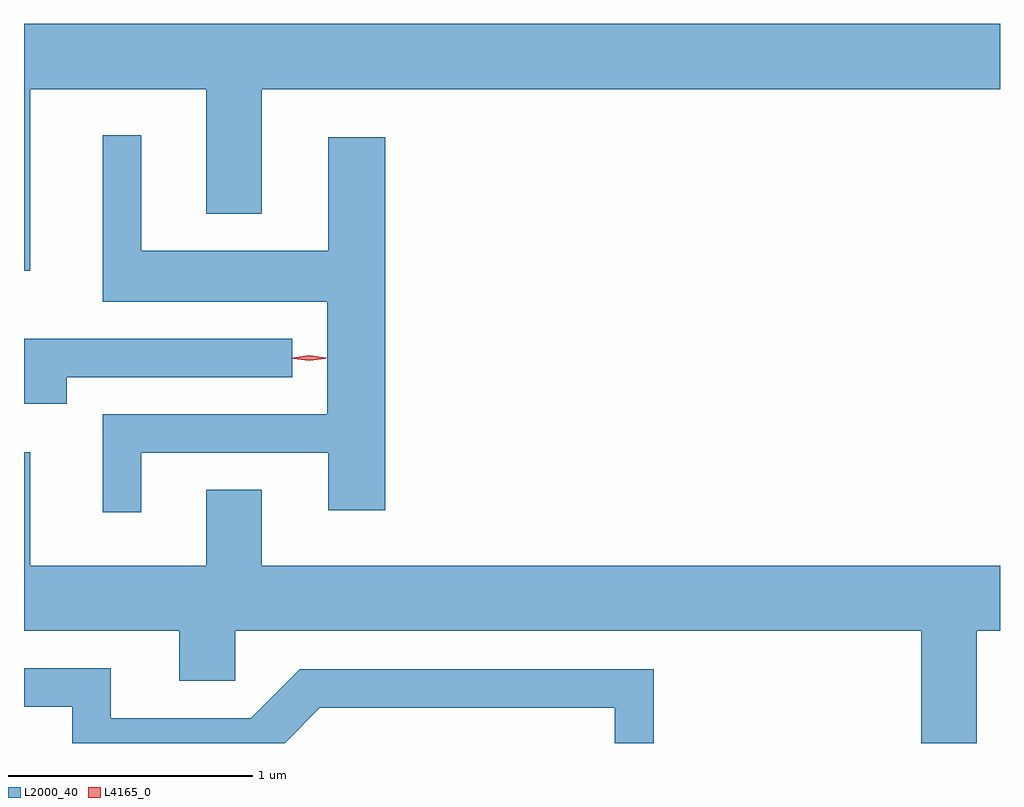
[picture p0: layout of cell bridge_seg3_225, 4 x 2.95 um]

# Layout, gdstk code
import gdstk
lib = gdstk.Library(unit=1e-6, precision=1e-09)
def P(c, l, *ps):  # polygons
    for p in ps: c.add(gdstk.Polygon(p, *l))
L2000_40 = (2000, 40)
L4165_0 = (4165, 0)

bridge_seg3_225 = lib.new_cell('bridge_seg3_225')
P(bridge_seg3_225, L2000_40, [(978.089,1132.676),(978.811,1132.676),(978.811,1132.166),(979.039,1132.166),(979.039,1132.676),(982.064,1132.676),(982.064,1132.944),(978.064,1132.944),(978.064,1131.933),(978.089,1131.933)],
  [(978.544,1131.186),(979.311,1131.186),(979.311,1130.951),(979.544,1130.951),(979.544,1132.479),(979.311,1132.479),(979.311,1132.014),(978.544,1132.014),(978.544,1132.488),(978.386,1132.488),(978.386,1131.806),(979.306,1131.806),(979.306,1131.344),(978.386,1131.344),(978.386,1130.943),(978.544,1130.943)],
  [(978.239,1131.496),(979.163,1131.496),(979.163,1131.654),(978.064,1131.654),(978.064,1131.386),(978.239,1131.386)],
  [(981.969,1130.456),(982.064,1130.456),(982.064,1130.724),(979.039,1130.724),(979.039,1131.034),(978.811,1131.034),(978.811,1130.724),(978.089,1130.724),(978.089,1131.188),(978.064,1131.188),(978.064,1130.456),(978.701,1130.456),(978.701,1130.251),(978.929,1130.251),(978.929,1130.456),(981.741,1130.456),(981.741,1129.996),(981.969,1129.996)],
  [(979.277,1130.141),(980.486,1130.141),(980.486,1129.996),(980.644,1129.996),(980.644,1130.299),(979.194,1130.299),(978.994,1130.099),(978.419,1130.099),(978.419,1130.304),(978.064,1130.304),(978.064,1130.146),(978.261,1130.146),(978.261,1129.996),(979.132,1129.996)])
P(bridge_seg3_225, L4165_0, [(979.233,1131.565),(979.164,1131.574),(979.163,1131.575),(979.164,1131.575),(979.233,1131.585),(979.302,1131.575),(979.302,1131.575),(979.302,1131.574)],
  [(979.233,1131.563),(979.167,1131.572),(979.167,1131.573),(979.167,1131.573),(979.233,1131.583),(979.299,1131.573),(979.299,1131.573),(979.299,1131.572)])

lib.write_gds('bridge_seg3_225.gds')
